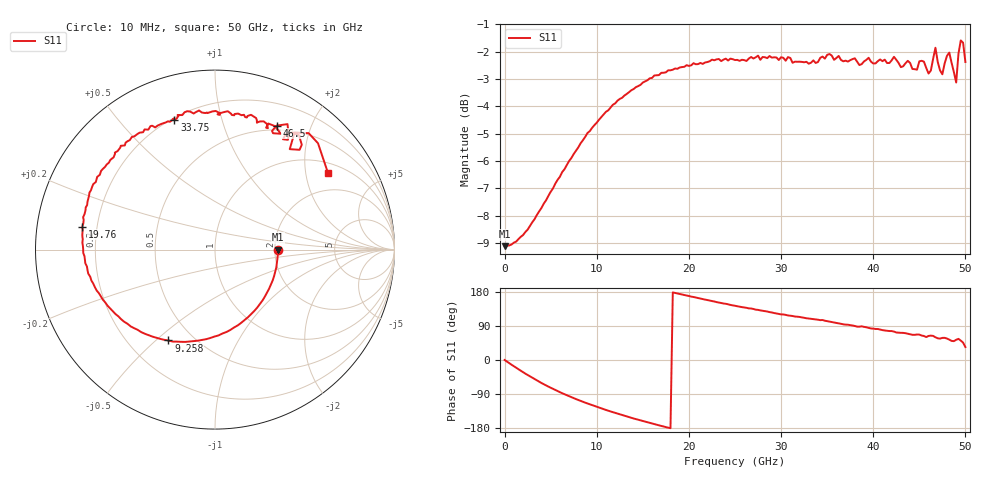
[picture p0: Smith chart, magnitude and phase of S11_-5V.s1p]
!Agilent Technologies,N5227A,US51270434,A.10.00.00
!Agilent N5227A: A.10.00.00
!Date: Thursday, February 26, 2026 12:47:02
!Correction: S11(Full 1 Port(1))
!S1P File: Measurement: S11:
# Hz S  dB  R 50
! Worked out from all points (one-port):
!   201 points, 10 MHz to 50 GHz, reference 50 ohm
!   lowest |S11| = -9.1 dB at 10 MHz (marker M1), VSWR 2.08, Z = 104 + j0.0698 ohm
!   |S11| at or under -10 dB: nowhere
!   S11 on the Smith chart (normalised r, x): 10 MHz: 2.08, +0.00; 9.258 GHz: 0.37, -0.55; 19.76 GHz: 0.14, +0.08; 33.75 GHz: 0.21, +0.71; 46.5 GHz: 0.45, +1.52; 50 GHz: 1.32, +2.67
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1e7  -9.11 0.0
3.0094e9  -8.23 -46.8
6.25875e9  -6.40 -87.7
9.25815e9  -4.90 -117.1
1.25075e10  -3.73 -143.5
1.575685e10  -2.97 -166.0
1.875625e10  -2.63 175.5
1.975605e10  -2.49 170.2
2.5005e10  -2.31 143.1
2.875425e10  -2.16 126.4
3.125375e10  -2.41 116.1
3.375325e10  -2.41 107.4
3.75025e10  -2.31 92.0
4.375125e10  -2.34 69.2
4.475105e10  -2.66 67.3
4.575085e10  -2.59 60.4
4.60008e10  -2.80 63.5
4.65007e10  -2.26 63.6
4.675065e10  -1.86 60.0
4.725055e10  -2.68 56.4
4.75005e10  -2.83 58.3
4.825035e10  -2.04 53.8
4.875025e10  -2.75 49.7
4.90002e10  -3.13 53.3
4.925015e10  -2.07 55.8
4.95001e10  -1.59 51.2
4.975005e10  -1.67 45.9
5e10  -2.38 34.1
